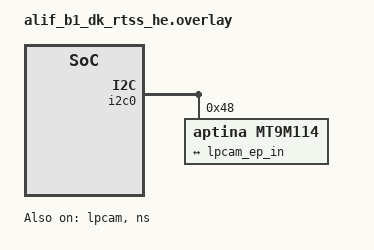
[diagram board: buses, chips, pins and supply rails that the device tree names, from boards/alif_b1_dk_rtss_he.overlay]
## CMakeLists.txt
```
# Copyright (C) 2024 Alif Semiconductor
# SPDX-License-Identifier: Apache-2.0

cmake_minimum_required(VERSION 3.20.0)
find_package(Zephyr REQUIRED HINTS $ENV{ZEPHYR_BASE})
project(video)

FILE(GLOB app_sources src/*c)
target_sources(app PRIVATE ${app_sources})
```

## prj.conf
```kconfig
# Copyright (C) 2024 Alif Semiconductor
# SPDX-License-Identifier: Apache-2.0

CONFIG_VIDEO=y
CONFIG_VIDEO_MIPI_CSI2_DW=y
CONFIG_LOG=y
CONFIG_PRINTK=y
CONFIG_STDOUT_CONSOLE=y
CONFIG_I2C_TARGET=y
CONFIG_I2C=y
CONFIG_I2C_DW_CLOCK_SPEED=100
CONFIG_MT9M114_PARALLEL_INIT=n
CONFIG_FB_USES_DTCM_REGION=n
CONFIG_SYS_HEAP_AUTO=y
```

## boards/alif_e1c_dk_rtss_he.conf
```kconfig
CONFIG_VIDEO_BUFFER_POOL_SZ_MAX=524288
CONFIG_VIDEO_BUFFER_POOL_NUM_MAX=1
```

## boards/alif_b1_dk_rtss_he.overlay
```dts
/* Copyright (C) 2024 Alif Semiconductor - All Rights Reserved.
 * Use, distribution and modification of this code is permitted under the
 * terms stated in the Alif Semiconductor Software License Agreement
 *
 * You should have received a copy of the Alif Semiconductor Software
 * License Agreement with this file. If not, please write to:
 * contact@alifsemi.com, or visit: https: //alifsemi.com/license
 *
 */

#include <dt-bindings/pinctrl/balletto-pinctrl.h>
#include <dt-bindings/i2c/i2c.h>
#include <dt-bindings/gpio/gpio.h>


&i2c0 {
	status = "okay";
	mt9m114: mt9m114@48{
		compatible = "aptina,mt9m114";
		reg = <0x48>;
		status = "okay";

		port {
			mt9m114_ep_out: endpoint {
				remote-endpoint = < &lpcam_ep_in >;
			};
		};
	};
};

&lpcam {
	status = "okay";
	sensor = <&mt9m114>;
	lp-cam;
	port {
		lpcam_ep_in: endpoint {
			remote-endpoint = <&mt9m114_ep_out>;
		};
	};
};

ns: &ns {
	/* Set NS region size to 640KB (128KB aligned) */
	reg = <0x2002a000 DT_SIZE_K(640)>;
	status = "okay";
};
```

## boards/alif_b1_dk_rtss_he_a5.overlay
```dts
/* Copyright (C) 2025 Alif Semiconductor - All Rights Reserved.
 * Use, distribution and modification of this code is permitted under the
 * terms stated in the Alif Semiconductor Software License Agreement
 *
 * You should have received a copy of the Alif Semiconductor Software
 * License Agreement with this file. If not, please write to:
 * contact@alifsemi.com, or visit: https: //alifsemi.com/license
 *
 */

#include <dt-bindings/pinctrl/balletto-pinctrl.h>
#include <dt-bindings/i2c/i2c.h>
#include <dt-bindings/gpio/gpio.h>


&i2c0 {
	status = "okay";
	mt9m114: mt9m114@48{
		compatible = "aptina,mt9m114";
		reg = <0x48>;
		status = "okay";

		port {
			mt9m114_ep_out: endpoint {
				remote-endpoint = < &lpcam_ep_in >;
			};
		};
	};
};

&lpcam {
	status = "okay";
	sensor = <&mt9m114>;
	lp-cam;
	port {
		lpcam_ep_in: endpoint {
			remote-endpoint = <&mt9m114_ep_out>;
		};
	};
};
```

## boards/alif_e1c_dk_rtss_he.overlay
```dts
/* Copyright (C) 2024 Alif Semiconductor - All Rights Reserved.
 * Use, distribution and modification of this code is permitted under the
 * terms stated in the Alif Semiconductor Software License Agreement
 *
 * You should have received a copy of the Alif Semiconductor Software
 * License Agreement with this file. If not, please write to:
 * contact@alifsemi.com, or visit: https: //alifsemi.com/license
 *
 */

#include <dt-bindings/pinctrl/balletto-pinctrl.h>
#include <dt-bindings/i2c/i2c.h>
#include <dt-bindings/gpio/gpio.h>


&i2c0 {
	status = "okay";
	mt9m114: mt9m114@48{
		compatible = "aptina,mt9m114";
		reg = <0x48>;
		status = "okay";

		port {
			mt9m114_ep_out: endpoint {
				remote-endpoint = < &lpcam_ep_in >;
			};
		};
	};
};

&lpcam {
	status = "okay";
	sensor = <&mt9m114>;
	lp-cam;
	port {
		lpcam_ep_in: endpoint {
			remote-endpoint = <&mt9m114_ep_out>;
		};
	};
};
```

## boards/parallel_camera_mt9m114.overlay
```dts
/* Copyright (C) 2025 Alif Semiconductor - All Rights Reserved.
 * Use, distribution and modification of this code are permitted under the
 * terms stated in the Alif Semiconductor Software License Agreement.
 *
 * You should have received a copy of the Alif Semiconductor Software
 * License Agreement with this file. If not, please write to:
 * contact@alifsemi.com, or visit: https://alifsemi.com/license
 */

#include <dt-bindings/pinctrl/ensemble-pinctrl.h>
#include <dt-bindings/i2c/i2c.h>
#include <dt-bindings/gpio/gpio.h>

&i2c1 {
	status = "okay";

	mt9m114: mt9m114@48{
		compatible = "aptina,mt9m114";
		reg = <0x48>;
		status = "okay";

		port {
			mt9m114_ep_out: endpoint {
				remote-endpoint = < &lpcam_ep_in >;
				//remote-endpoint = < &cam_ep_in >;
			};
		};
	};
};

&cam {
	status = "disabled";
	sensor = <&mt9m114>;
	port {
		/* Parallel Bus endpoint. */
		cam_ep_in: endpoint {
			//remote-endpoint = <&mt9m114_ep_out>;
		};
	};
};

&lpcam {
	status = "okay";
	sensor = <&mt9m114>;
	lp-cam;
	port {
		lpcam_ep_in: endpoint {
			remote-endpoint = <&mt9m114_ep_out>;
		};
	};
};
```

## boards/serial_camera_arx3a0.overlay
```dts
/* Copyright (C) 2025 Alif Semiconductor - All Rights Reserved.
 * Use, distribution and modification of this code are permitted under the
 * terms stated in the Alif Semiconductor Software License Agreement.
 *
 * You should have received a copy of the Alif Semiconductor Software
 * License Agreement with this file. If not, please write to:
 * contact@alifsemi.com, or visit: https://alifsemi.com/license
 */

#include <dt-bindings/pinctrl/ensemble-pinctrl.h>
#include <dt-bindings/i2c/i2c.h>
#include <dt-bindings/gpio/gpio.h>


&i2c1 {
	status = "okay";

	arx3a0: arx3a0@36 {
		compatible = "onnn,arx3a0";
		reg = <0x36>;
		pinctrl-0 = < &pinctrl_cam_xvclk >;
		pinctrl-names = "default";
		reset-gpios = <&gpio9 1 GPIO_ACTIVE_HIGH>;
		power-gpios = <&gpio7 5 GPIO_ACTIVE_HIGH>;

		status = "okay";

		port {
			arx3a0_csi2_ep_out: endpoint {
				remote-endpoint = <&csi2_ep_in>;
			};
		};
	};
};

&cam {
	status = "okay";
	sensor = <&arx3a0>;
	csi-bus-if = <&csi>;
	port {
		/* MIPI CSI-2 bus endpoint. */
		cam_csi2_ep_in: endpoint {
			remote-endpoint = <&csi2_ep_out>;
		};
	};
};

&csi {
	#address-cells = <1>;
	#size-cells = <0>;
	port@1 {
		reg = <1>;
		csi2_ep_in: endpoint {
			remote-endpoint = <&arx3a0_csi2_ep_out>;
		};
	};
	port@2 {
		reg = <2>;
		csi2_ep_out: endpoint {
			remote-endpoint = <&cam_csi2_ep_in>;
		};
	};
};

&mipi_dsi {
	status = "okay";
};
```

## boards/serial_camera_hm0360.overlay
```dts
/* Copyright (C) 2025 Alif Semiconductor - All Rights Reserved.
 * Use, distribution and modification of this code are permitted under the
 * terms stated in the Alif Semiconductor Software License Agreement.
 *
 * You should have received a copy of the Alif Semiconductor Software
 * License Agreement with this file. If not, please write to:
 * contact@alifsemi.com, or visit: https://alifsemi.com/license
 */

#include <dt-bindings/pinctrl/ensemble-pinctrl.h>
#include <dt-bindings/i2c/i2c.h>
#include <dt-bindings/gpio/gpio.h>


&i2c1 {
	status = "okay";
	clock-frequency = <I2C_BITRATE_FAST_PLUS>;

	hm0360: hm0360@24 {
		compatible = "himax,hm0360";
		reg = <0x24>;
		pinctrl-0 = < &pinctrl_cam_xvclk >;
		pinctrl-names = "default";
		reset-gpios = <&gpio9 1 GPIO_ACTIVE_LOW>;
		power-gpios = <&gpio7 5 GPIO_ACTIVE_HIGH>;
		xsleep-gpios = <&gpio6 3 GPIO_ACTIVE_LOW>;

		status = "okay";

		port {
			hm0360_csi2_ep_out: endpoint {
				remote-endpoint = <&csi2_ep_in>;
			};
		};
	};
};

&cam {
	status = "okay";
	sensor = <&hm0360>;
	csi-bus-if = <&csi>;
	port {
		/* MIPI CSI-2 bus endpoint. */
		cam_csi2_ep_in: endpoint {
			remote-endpoint = <&csi2_ep_out>;
		};
	};
};

&csi {
	#address-cells = <1>;
	#size-cells = <0>;
	data-lanes = <0x1>;
	rx-ddr-clk = < 176000000 >;
	port@1 {
		reg = <1>;
		csi2_ep_in: endpoint {
			remote-endpoint = <&hm0360_csi2_ep_out>;
		};
	};
	port@2 {
		reg = <2>;
		csi2_ep_out: endpoint {
			remote-endpoint = <&cam_csi2_ep_in>;
		};
	};
};

&mipi_dsi {
	status = "okay";
};
```

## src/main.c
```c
/*
 * Copyright (C) 2024 Alif Semiconductor.
 * SPDX-License-Identifier: Apache-2.0
 */

#include <zephyr/kernel.h>
#include <zephyr/device.h>

#include <zephyr/drivers/video.h>
#include <zephyr/logging/log.h>
LOG_MODULE_REGISTER(video_app, LOG_LEVEL_INF);

#ifdef CONFIG_DT_HAS_HIMAX_HM0360_ENABLED
#include <zephyr/drivers/video/hm0360-video-controls.h>
#endif /* CONFIG_DT_HAS_HIMAX_HM0360_ENABLED */

#define N_FRAMES		10
#define N_VID_BUFF              MIN(CONFIG_VIDEO_BUFFER_POOL_NUM_MAX, N_FRAMES)

#ifdef CONFIG_DT_HAS_HIMAX_HM0360_ENABLED
#define FORMAT_TO_CAPTURE	VIDEO_PIX_FMT_BGGR8
#else
#define FORMAT_TO_CAPTURE	VIDEO_PIX_FMT_Y10P
#endif /* CONFIG_DT_HAS_HIMAX_HM0360_ENABLED */

int main(void)
{
	struct video_buffer *buffers[N_VID_BUFF], *vbuf;
	struct video_format fmt = { 0 };
	struct video_caps caps;
	const struct device *video;
	unsigned int frame = 0;
	size_t bsize;
	int i = 0;
	int ret;

#ifdef CONFIG_DT_HAS_HIMAX_HM0360_ENABLED
	uint32_t num_frames;
#endif /* CONFIG_DT_HAS_HIMAX_HM0360_ENABLED */

	uint32_t last_timestamp = 0;
	uint32_t frame_time = 0;

	video = DEVICE_DT_GET_ONE(alif_cam);
	if (!device_is_ready(video)) {
		LOG_ERR("%s: device not ready.", video->name);
		return -1;
	}
	printk("- Device name: %s\n", video->name);

	/* Get capabilities */
	if (video_get_caps(video, VIDEO_EP_OUT, &caps)) {
		LOG_ERR("Unable to retrieve video capabilities");
		return -1;
	}

	printk("- Capabilities:\n");
	while (caps.format_caps[i].pixelformat) {
		const struct video_format_cap *fcap = &caps.format_caps[i];
		/* fourcc to string */
		printk("  %c%c%c%c width (min, max, step)[%u; %u; %u] "
			"height (min, max, step)[%u; %u; %u]\n",
		       (char)fcap->pixelformat,
		       (char)(fcap->pixelformat >> 8),
		       (char)(fcap->pixelformat >> 16),
		       (char)(fcap->pixelformat >> 24),
		       fcap->width_min, fcap->width_max, fcap->width_step,
		       fcap->height_min, fcap->height_max, fcap->height_step);

		if (fcap->pixelformat == FORMAT_TO_CAPTURE) {
			fmt.pixelformat = FORMAT_TO_CAPTURE;
			if (IS_ENABLED(CONFIG_DT_HAS_HIMAX_HM0360_ENABLED)) {
				fmt.width = 320;
				fmt.height = 240;
			} else {
				fmt.width = fcap->width_min;
				fmt.height = fcap->height_min;
			}
		}
		i++;
	}

	if (fmt.pixelformat == 0) {
		LOG_ERR("Desired Pixel format is not supported.");
		return -1;
	}

	switch (fmt.pixelformat) {
	case VIDEO_PIX_FMT_RGB565:
		fmt.pitch = fmt.width << 1;
		break;
	case VIDEO_PIX_FMT_Y10P:
		fmt.pitch = fmt.width;
		break;
	case VIDEO_PIX_FMT_BGGR8:
	case VIDEO_PIX_FMT_GBRG8:
	case VIDEO_PIX_FMT_GRBG8:
	case VIDEO_PIX_FMT_RGGB8:
	case VIDEO_PIX_FMT_GREY:
	default:
		fmt.pitch = fmt.width;
		break;
	}

	ret = video_set_format(video, VIDEO_EP_OUT, &fmt);
	if (ret) {
		LOG_ERR("Failed to set video format. ret - %d", ret);
		return -1;
	}

	printk("- format: %c%c%c%c %ux%u\n", (char)fmt.pixelformat,
	       (char)(fmt.pixelformat >> 8),
	       (char)(fmt.pixelformat >> 16),
	       (char)(fmt.pixelformat >> 24),
	       fmt.width, fmt.height);

	/* Size to allocate for each buffer */
	bsize = fmt.pitch * fmt.height;

	printk("Width - %d, Pitch - %d, Height - %d, Buff size - %d\n",
			fmt.width, fmt.pitch, fmt.height, bsize);

	/* Alloc video buffers and enqueue for capture */
	for (i = 0; i < ARRAY_SIZE(buffers); i++) {
		buffers[i] = video_buffer_alloc(bsize);
		if (buffers[i] == NULL) {
			LOG_ERR("Unable to alloc video buffer");
			return -1;
		}

		/* Allocated Buffer Information */
		printk("- addr - 0x%x, size - %d, bytesused - %d\n",
			(uint32_t)buffers[i]->buffer,
			bsize,
			buffers[i]->bytesused);

		memset(buffers[i]->buffer, 0, sizeof(char) * bsize);
		video_enqueue(video, VIDEO_EP_OUT, buffers[i]);

		printk("capture buffer[%d]: dump binary memory "
			"\"/home/$USER/capture_%d.bin\" 0x%08x 0x%08x -r\n\n",
			i, i, (uint32_t)buffers[i]->buffer,
			(uint32_t)buffers[i]->buffer + bsize - 1);
	}

	/*
	 * TODO: Need to fix this delay.
	 * As per our observation, if we are not giving this much delay
	 * then mt9m114 camera sensor is not setup properly and images its
	 * sending out are not clear.
	 */
	k_msleep(7000);

#if CONFIG_DT_HAS_HIMAX_HM0360_ENABLED
	/* Video test SNAPSHOT capture. */
	num_frames = N_FRAMES;
	ret = video_set_ctrl(video, VIDEO_CID_SNAPSHOT_CAPTURE, &num_frames);
	if (ret) {
		LOG_INF("Snapshot mode not-supported by CMOS sensor.");
	}
#endif

	/* Start video capture */
	ret = video_stream_start(video);
	if (ret) {
		LOG_ERR("Unable to start capture (interface). ret - %d", ret);
		return -1;
	}

	printk("Capture started\n");

	for (int i = 0; i < N_FRAMES; i++) {
		ret = video_dequeue(video, VIDEO_EP_OUT, &vbuf, K_FOREVER);
		if (ret) {
			LOG_ERR("Unable to dequeue video buf");
			return -1;
		}

		LOG_INF("Got frame %u! size: %u; timestamp %u ms",
		       frame++, vbuf->bytesused, vbuf->timestamp);

		if (last_timestamp == 0) {
			LOG_INF("FPS: 0.0\n");
			last_timestamp = vbuf->timestamp;
		} else {
			frame_time = vbuf->timestamp - last_timestamp;
			last_timestamp = vbuf->timestamp;
			LOG_INF("FPS: %f\n", 1000.0/frame_time);
		}

		if (i < N_FRAMES - N_VID_BUFF) {
			ret = video_enqueue(video, VIDEO_EP_OUT, vbuf);
			if (ret) {
				LOG_ERR("Unable to requeue video buf");
				return -1;
			}

			ret = video_stream_start(video);
			if (ret) {
				LOG_ERR("Unable to start capture (interface). ret - %d\n",
						ret);
				return -1;
			}
		}
	}

	LOG_INF("Calling video flush.");
	video_flush(video, VIDEO_EP_OUT, false);

	LOG_INF("Calling video stream stop.");
	ret = video_stream_stop(video);
	if (ret) {
		LOG_ERR("Unable to stop capture (interface). ret - %d", ret);
		return -1;
	}

	return 0;
}
```
